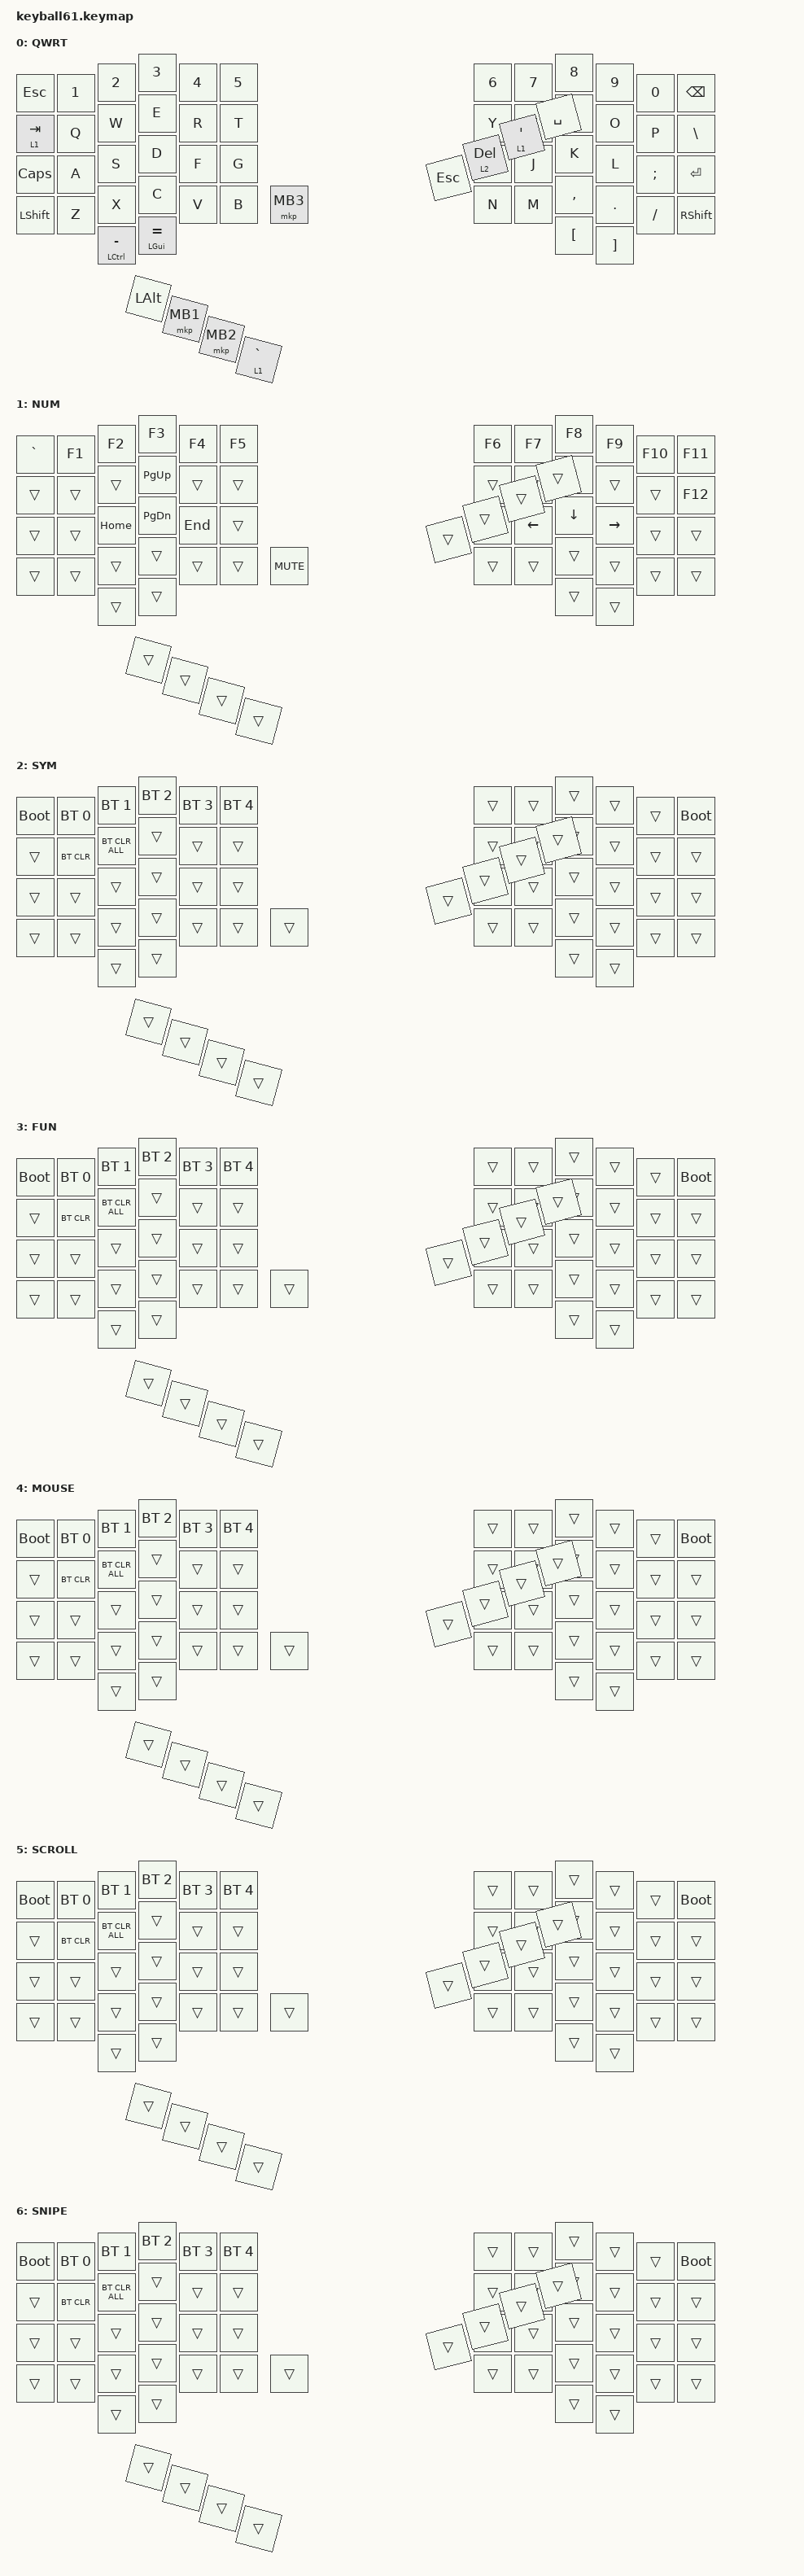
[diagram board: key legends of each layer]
#define DEFAULT 0
#define SYM     1
#define FUN     2
#define MOUSE   3
#define SCROLL  4
#define SNIPE   5

#include <behaviors/mouse_keys.dtsi>
#include <behaviors.dtsi>
#include <dt-bindings/zmk/bt.h>
#include <dt-bindings/zmk/keys.h>
#include <dt-bindings/zmk/mouse.h>

&lt {
    tapping-term-ms = <240>;
    flavor = "balanced";
    quick-tap-ms = <150>;
};

&mt {
    tapping-term-ms = <200>;
    flavor = "tap-preferred";
    quick-tap-ms = <150>;
};

/ {
    keymap {
        compatible = "zmk,keymap";

        default_layer {
            label = "QWRT";
            bindings = <
&kp ESC    &kp N1       &kp N2           &kp N3          &kp N4    &kp N5    &kp N6     &kp N7     &kp N8     &kp N9    &kp N0    &kp BSPC
&lt 1 TAB  &kp Q        &kp W            &kp E           &kp R     &kp T     &kp Y      &kp U      &kp I      &kp O     &kp P     &kp BSLH
&kp CAPS   &kp A        &kp S            &kp D           &kp F     &kp G     &kp H      &kp J      &kp K      &kp L     &kp SEMI  &kp ENTER
&kp LSHFT  &kp Z        &kp X            &kp C           &kp V     &kp B     &kp N      &kp M      &kp COMMA  &kp DOT   &kp FSLH  &kp RSHFT
&mkp MB2   &lt 1 GRAVE  &mt LCTRL MINUS  &mt LGUI EQUAL  &kp LALT  &mkp MB1  &lt 1 SQT  &kp SPACE  &kp LBKT   &kp RBKT  &kp ESC   &lt 2 DEL
                                                                   &mkp MB3
            >;
        };

        number_layer {
            bindings = <
&kp GRAVE  &kp F1  &kp F2    &kp F3     &kp F4   &kp F5      &kp F6  &kp F7    &kp F8    &kp F9     &kp F10  &kp F11
&trans     &trans  &trans    &kp PG_UP  &trans   &trans      &trans  &trans    &kp UP    &trans     &trans   &kp F12
&trans     &trans  &kp HOME  &kp PG_DN  &kp END  &trans      &trans  &kp LEFT  &kp DOWN  &kp RIGHT  &trans   &trans
&trans     &trans  &trans    &trans     &trans   &trans      &trans  &trans    &trans    &trans     &trans   &trans
&trans     &trans  &trans    &trans     &trans   &trans      &trans  &trans    &trans    &trans     &trans   &trans
                                                 &kp C_MUTE
            >;

            label = "NUM";
        };

        symbol_layer {
            label = "SYM";
            bindings = <
&bootloader      &bt BT_SEL 0     &bt BT_SEL 1     &bt BT_SEL 2     &bt BT_SEL 3     &bt BT_SEL 4  &trans  &trans  &trans  &trans  &trans  &bootloader
&trans           &bt BT_CLR       &bt BT_CLR_ALL   &trans     &trans     &trans        &trans  &trans  &trans  &trans  &trans  &trans
&trans  &trans  &trans  &trans  &trans  &trans        &trans  &trans  &trans  &trans  &trans  &trans
&trans  &trans  &trans  &trans  &trans  &trans        &trans  &trans  &trans  &trans  &trans  &trans
&trans           &trans           &trans   &trans  &trans           &trans        &trans  &trans  &trans  &trans  &trans  &trans
                                                                                     &trans
            >;
        };

        function_layer {
            label = "FUN";
            bindings = <
&bootloader      &bt BT_SEL 0     &bt BT_SEL 1     &bt BT_SEL 2     &bt BT_SEL 3     &bt BT_SEL 4  &trans  &trans  &trans  &trans  &trans  &bootloader
&trans           &bt BT_CLR       &bt BT_CLR_ALL   &trans     &trans     &trans        &trans  &trans  &trans  &trans  &trans  &trans
&trans  &trans  &trans  &trans  &trans  &trans        &trans  &trans  &trans  &trans  &trans  &trans
&trans  &trans  &trans  &trans  &trans  &trans        &trans  &trans  &trans  &trans  &trans  &trans
&trans           &trans           &trans   &trans  &trans           &trans        &trans  &trans  &trans  &trans  &trans  &trans
                                                                                     &trans
            >;
        };

        mouse_layer {
            label = "MOUSE";
            bindings = <
&bootloader      &bt BT_SEL 0     &bt BT_SEL 1     &bt BT_SEL 2     &bt BT_SEL 3     &bt BT_SEL 4  &trans  &trans  &trans  &trans  &trans  &bootloader
&trans           &bt BT_CLR       &bt BT_CLR_ALL   &trans     &trans     &trans        &trans  &trans  &trans  &trans  &trans  &trans
&trans  &trans  &trans  &trans  &trans  &trans        &trans  &trans  &trans  &trans  &trans  &trans
&trans  &trans  &trans  &trans  &trans  &trans        &trans  &trans  &trans  &trans  &trans  &trans
&trans           &trans           &trans   &trans  &trans           &trans        &trans  &trans  &trans  &trans  &trans  &trans
                                                                                     &trans
            >;
        };

        scroll_layer {
            label = "SCROLL";
            bindings = <
&bootloader      &bt BT_SEL 0     &bt BT_SEL 1     &bt BT_SEL 2     &bt BT_SEL 3     &bt BT_SEL 4  &trans  &trans  &trans  &trans  &trans  &bootloader
&trans           &bt BT_CLR       &bt BT_CLR_ALL   &trans     &trans     &trans        &trans  &trans  &trans  &trans  &trans  &trans
&trans  &trans  &trans  &trans  &trans  &trans        &trans  &trans  &trans  &trans  &trans  &trans
&trans  &trans  &trans  &trans  &trans  &trans        &trans  &trans  &trans  &trans  &trans  &trans
&trans           &trans           &trans   &trans  &trans           &trans        &trans  &trans  &trans  &trans  &trans  &trans
                                                                                     &trans
            >;
        };

        snipe_layer {
            label = "SNIPE";
            bindings = <
&bootloader      &bt BT_SEL 0     &bt BT_SEL 1     &bt BT_SEL 2     &bt BT_SEL 3     &bt BT_SEL 4  &trans  &trans  &trans  &trans  &trans  &bootloader
&trans           &bt BT_CLR       &bt BT_CLR_ALL   &trans     &trans     &trans        &trans  &trans  &trans  &trans  &trans  &trans
&trans  &trans  &trans  &trans  &trans  &trans        &trans  &trans  &trans  &trans  &trans  &trans
&trans  &trans  &trans  &trans  &trans  &trans        &trans  &trans  &trans  &trans  &trans  &trans
&trans           &trans           &trans   &trans  &trans           &trans        &trans  &trans  &trans  &trans  &trans  &trans
                                                                                     &trans
            >;
        };
    };
};
